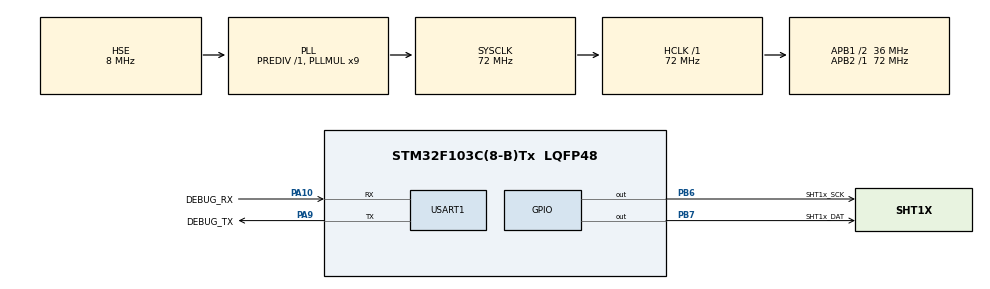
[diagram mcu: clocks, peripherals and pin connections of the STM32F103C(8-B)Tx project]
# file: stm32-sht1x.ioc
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Mcu.Family=STM32F1
Mcu.Name=STM32F103C(8-B)Tx
Mcu.Package=LQFP48
NVIC.PriorityGroup=NVIC_PRIORITYGROUP_4
PA10.GPIO_Label=DEBUG_RX
PA10.Mode=Asynchronous
PA10.Signal=USART1_RX
PA13.Mode=Serial_Wire
PA13.Signal=SYS_JTMS-SWDIO
PA14.Mode=Serial_Wire
PA14.Signal=SYS_JTCK-SWCLK
PA9.GPIO_Label=DEBUG_TX
PA9.Mode=Asynchronous
PA9.Signal=USART1_TX
PB6.GPIO_Label=SHT1x_SCK
PB6.Signal=GPIO_Output
PB7.GPIO_Label=SHT1x_DAT
PB7.Signal=GPIO_Output
PD0-OSC_IN.Mode=HSE-External-Oscillator
PD0-OSC_IN.Signal=RCC_OSC_IN
PD1-OSC_OUT.Mode=HSE-External-Oscillator
PD1-OSC_OUT.Signal=RCC_OSC_OUT
ProjectManager.HeapSize=0x200
ProjectManager.StackSize=0x400
ProjectManager.TargetToolchain=STM32CubeIDE
RCC.AHBFreq_Value=72000000
RCC.APB1CLKDivider=RCC_HCLK_DIV2
RCC.APB1Freq_Value=36000000
RCC.APB1TimFreq_Value=72000000
RCC.APB2Freq_Value=72000000
RCC.APB2TimFreq_Value=72000000
RCC.HCLKFreq_Value=72000000
RCC.PLLMUL=RCC_PLL_MUL9
RCC.PLLSourceVirtual=RCC_PLLSOURCE_HSE
RCC.SYSCLKFreq_VALUE=72000000
RCC.SYSCLKSource=RCC_SYSCLKSOURCE_PLLCLK
RCC.USBFreq_Value=72000000
USART1.VirtualMode=VM_ASYNC
board=custom

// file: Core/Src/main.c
/* USER CODE BEGIN Header */
/**
  ******************************************************************************
  * @file           : main.c
  * @brief          : Main program body
  ******************************************************************************
  * @attention
  *
  * Copyright (c) 2022 STMicroelectronics.
  * All rights reserved.
  *
  * This software is licensed under terms that can be found in the LICENSE file
  * in the root directory of this software component.
  * If no LICENSE file comes with this software, it is provided AS-IS.
  *
  ******************************************************************************
  */
/* USER CODE END Header */
#include "main.h"
#include "usart.h"
#include "gpio.h"

/* USER CODE BEGIN Includes */
#include "stdio.h"
#include "SHT1x.h"
#include "SHT1x_platform.h"

/* USER CODE END Includes */

/* USER CODE BEGIN PM */
#ifdef __cplusplus
extern "C" int _write(int32_t file, uint8_t *ptr, int32_t len) {
#else
int _write(int32_t file, uint8_t *ptr, int32_t len) {
#endif
    if( HAL_UART_Transmit(&huart1, ptr, len, len) == HAL_OK ) return len;
    else return 0;
}

/* USER CODE END PM */

void SystemClock_Config(void);

int main(void)
{

  /* MCU Configuration--------------------------------------------------------*/

  /* Reset of all peripherals, Initializes the Flash interface and the Systick. */
  HAL_Init();

  /* Configure the system clock */
  SystemClock_Config();

  /* Initialize all configured peripherals */
  MX_GPIO_Init();
  MX_USART1_UART_Init();
  /* USER CODE BEGIN 2 */
  SHT1x_Handler_t Handler;
  SHT1x_Sample_t  Sample;

  SHT1x_Platform_Init(&Handler);
  SHT1x_Init(&Handler);

  /* USER CODE END 2 */

  /* Infinite loop */
  /* USER CODE BEGIN WHILE */
  while (1)
  {
	SHT1x_ReadSample(&Handler, &Sample);
	printf("Temperature: %f°C\r\n",  Sample.TempCelsius);
	printf("Humidity: %f%%\r\n\r\n",  Sample.HumidityPercent);
	//HAL_Delay(500);
    /* USER CODE END WHILE */

    /* USER CODE BEGIN 3 */
  }

  SHT1x_DeInit(&Handler);
  return 0;
  /* USER CODE END 3 */
}

void SystemClock_Config(void)
{
  RCC_OscInitTypeDef RCC_OscInitStruct = {0};
  RCC_ClkInitTypeDef RCC_ClkInitStruct = {0};

  /** Initializes the RCC Oscillators according to the specified parameters
  * in the RCC_OscInitTypeDef structure.
  */
  RCC_OscInitStruct.OscillatorType = RCC_OSCILLATORTYPE_HSE;
  RCC_OscInitStruct.HSEState = RCC_HSE_ON;
  RCC_OscInitStruct.HSEPredivValue = RCC_HSE_PREDIV_DIV1;
  RCC_OscInitStruct.HSIState = RCC_HSI_ON;
  RCC_OscInitStruct.PLL.PLLState = RCC_PLL_ON;
  RCC_OscInitStruct.PLL.PLLSource = RCC_PLLSOURCE_HSE;
  RCC_OscInitStruct.PLL.PLLMUL = RCC_PLL_MUL9;
  if (HAL_RCC_OscConfig(&RCC_OscInitStruct) != HAL_OK)
  {
    Error_Handler();
  }
  /** Initializes the CPU, AHB and APB buses clocks
  */
  RCC_ClkInitStruct.ClockType = RCC_CLOCKTYPE_HCLK|RCC_CLOCKTYPE_SYSCLK
                              |RCC_CLOCKTYPE_PCLK1|RCC_CLOCKTYPE_PCLK2;
  RCC_ClkInitStruct.SYSCLKSource = RCC_SYSCLKSOURCE_PLLCLK;
  RCC_ClkInitStruct.AHBCLKDivider = RCC_SYSCLK_DIV1;
  RCC_ClkInitStruct.APB1CLKDivider = RCC_HCLK_DIV2;
  RCC_ClkInitStruct.APB2CLKDivider = RCC_HCLK_DIV1;

  if (HAL_RCC_ClockConfig(&RCC_ClkInitStruct, FLASH_LATENCY_2) != HAL_OK)
  {
    Error_Handler();
  }
}

void Error_Handler(void)
{
  __disable_irq();
  while (1)
  {
  }
}
